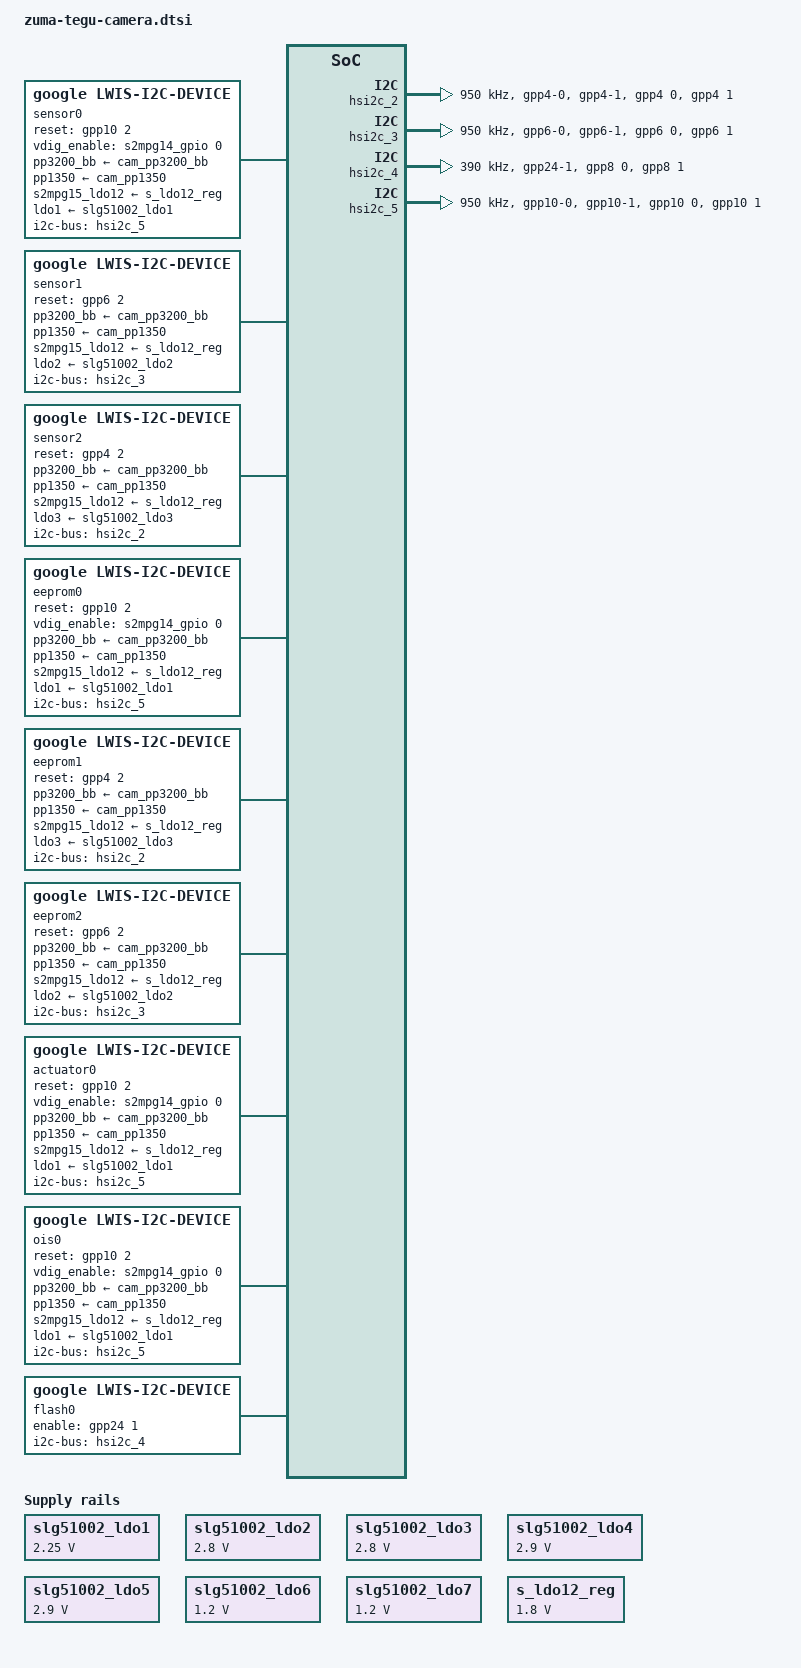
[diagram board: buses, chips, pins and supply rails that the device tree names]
// SPDX-License-Identifier: GPL-2.0-only
/*
 * zuma camera lwis device tree for tegu
 *
 * Copyright 2023 Google LLC.
 *
 */

#include <dt-bindings/clock/zuma.h>
#include <dt-bindings/gpio/gpio.h>
#include <arm64/exynos/exynos-pinctrl.h>

&slg51002_ldo1 {
	regulator-min-microvolt = <2250000>;
	regulator-max-microvolt = <2250000>;
};

/* As defined on OTP */
&slg51002_ldo2 {
	regulator-min-microvolt = <2800000>;
	regulator-max-microvolt = <2800000>;
};

&slg51002_ldo3 {
	regulator-min-microvolt = <2800000>;
	regulator-max-microvolt = <2800000>;
};

&slg51002_ldo4 {
	regulator-min-microvolt = <2900000>;
	regulator-max-microvolt = <2900000>;
};

&slg51002_ldo5 {
	regulator-min-microvolt = <2900000>;
	regulator-max-microvolt = <2900000>;
};

/* As defined on OTP */
&slg51002_ldo6 {
	regulator-min-microvolt = <1200000>;
	regulator-max-microvolt = <1200000>;
};

&slg51002_ldo7 {
	regulator-min-microvolt = <1200000>;
	regulator-max-microvolt = <1200000>;
};

/* slg51002_ldo8 is not used */

&s_ldo12_reg {
	regulator-min-microvolt = <1800000>;
	regulator-max-microvolt = <1800000>;
};


&pinctrl_11 {
	hsi2c2_bus: hsi2c2-bus {
		samsung,pin-pud = <EXYNOS_PIN_PULL_UP>;
	};

	hsi2c2_bus_in: hsi2c2-bus-in {
		samsung,pins = "gpp4-0", "gpp4-1";
		samsung,pin-function = <EXYNOS_PIN_FUNC_INPUT>;
		samsung,pin-pud = <EXYNOS_PIN_PULL_NONE>;
		samsung,pin-drv = <ZUMA_PIN_DRV_X1>;
	};

	hsi2c3_bus: hsi2c3-bus {
		samsung,pin-pud = <EXYNOS_PIN_PULL_UP>;
	};

	hsi2c3_bus_in: hsi2c3-bus-in {
		samsung,pins = "gpp6-0", "gpp6-1";
		samsung,pin-function = <EXYNOS_PIN_FUNC_INPUT>;
		samsung,pin-pud = <EXYNOS_PIN_PULL_NONE>;
		samsung,pin-drv = <ZUMA_PIN_DRV_X1>;
	};

	hsi2c5_bus: hsi2c5-bus {
		samsung,pin-pud = <EXYNOS_PIN_PULL_UP>;
	};

	hsi2c5_bus_in: hsi2c5-bus-in {
		samsung,pins = "gpp10-0", "gpp10-1";
		samsung,pin-function = <EXYNOS_PIN_FUNC_INPUT>;
		samsung,pin-pud = <EXYNOS_PIN_PULL_NONE>;
		samsung,pin-drv = <ZUMA_PIN_DRV_X1>;
	};

	sensor_mclk1_out: sensor-mclk1-out {
		samsung,pin-drv = <ZUMA_PIN_DRV_X3>;
	};
	sensor_mclk1_fn: sensor-mclk1-fn {
		samsung,pin-drv = <ZUMA_PIN_DRV_X3>;
	};
	sensor_mclk2_out: sensor-mclk2-out {
		samsung,pin-drv = <ZUMA_PIN_DRV_X3>;
	};
	sensor_mclk2_fn: sensor-mclk2-fn {
		samsung,pin-drv = <ZUMA_PIN_DRV_X3>;
	};
	sensor_mclk4_out: sensor-mclk4-out {
		samsung,pin-drv = <ZUMA_PIN_DRV_X3>;
	};
	sensor_mclk4_fn: sensor-mclk4-fn {
		samsung,pin-drv = <ZUMA_PIN_DRV_X3>;
	};
};

&pinctrl_12 {
	/* GPP24[1] Flashlight Enable */
	flash_en: flash-en {
		samsung,pins = "gpp24-1";
		samsung,pin-function = <EXYNOS_PIN_FUNC_INPUT>;
		samsung,pin-pud = <EXYNOS_PIN_PULL_NONE>;
		samsung,pin-con-pdn = <EXYNOS_PIN_PDN_PREV>;
		samsung,pin-pud-pdn = <EXYNOS_PIN_PULL_NONE>;
	};
};

&hsi2c_2 {
	#address-cells = <1>;
	#size-cells = <0>;
	gpios = <&gpp4 0 GPIO_ACTIVE_HIGH &gpp4 1 GPIO_ACTIVE_HIGH>;
	status = "okay";
	clock-frequency = <950000>;
	samsung,no_lose_arbitration;
	samsung,reset-before-trans;

	pinctrl-names = "default","on_i2c","off_i2c";
	pinctrl-0 = <&hsi2c2_bus_in>;
	pinctrl-1 = <&hsi2c2_bus>;
	pinctrl-2 = <&hsi2c2_bus_in>;
};

&hsi2c_3 {
	#address-cells = <1>;
	#size-cells = <0>;
	gpios = <&gpp6 0 GPIO_ACTIVE_HIGH &gpp6 1 GPIO_ACTIVE_HIGH>;
	status = "okay";
	clock-frequency = <950000>;
	samsung,no_lose_arbitration;
	samsung,reset-before-trans;

	pinctrl-names = "default","on_i2c","off_i2c";
	pinctrl-0 = <&hsi2c3_bus_in>;
	pinctrl-1 = <&hsi2c3_bus>;
	pinctrl-2 = <&hsi2c3_bus_in>;
};

&hsi2c_4 {
	#address-cells = <1>;
	#size-cells = <0>;
	gpios = <&gpp8 0 GPIO_ACTIVE_HIGH &gpp8 1 GPIO_ACTIVE_HIGH>;
	status = "okay";
	/* Limit to 390KHz due to bottleneck in flash LED driver. */
	clock-frequency = <390000>;
	samsung,no_lose_arbitration;

	pinctrl-names = "default","on_i2c","off_i2c";
	pinctrl-0 = <&hsi2c4_bus &flash_en>;
	pinctrl-1 = <&hsi2c4_bus>;
	pinctrl-2 = <&hsi2c4_bus>;
};

&hsi2c_5 {
	#address-cells = <1>;
	#size-cells = <0>;
	gpios = <&gpp10 0 GPIO_ACTIVE_HIGH &gpp10 1 GPIO_ACTIVE_HIGH>;
	status = "okay";
	clock-frequency = <950000>;
	samsung,no_lose_arbitration;
	samsung,reset-before-trans;
	samsung,hybrid-polling-mode;
	samsung,trailing-count = <0x20000>;

	pinctrl-names = "default","on_i2c","off_i2c";
	pinctrl-0 = <&hsi2c5_bus_in>;
	pinctrl-1 = <&hsi2c5_bus>;
	pinctrl-2 = <&hsi2c5_bus_in>;
};


/ {
	fragment@lwiscamera {
		target-path = "/";
		__overlay__ {
			/* Power sequence for FRONT CAMERA combo */
			front_camera_power_seq: module_power_seq@0 {
				/* Power supplies will be defined on each module. */
				/* Common supplies */
				/* PP3200_BB_CAM pp3200_bb */
				/* PP1350_CAM    pp1350 */
				/* Sensor */
				/* VDDIO         s5mpg15_ldo12 */
				/* VDDA          ldo2          */
				/* VDIG          ldo7          */
				/* RESET         reset         */
				/* MCLK_ON       mclk_on       */
				power-up-seqs =
					"pp3200_bb",
					"pp1350",
					"s2mpg15_ldo12",
					"ldo2",
					"ldo7",
					"reset",
					"mclk_on";
				power-up-seq-types =
					"regulator",
					"regulator",
					"regulator",
					"regulator",
					"regulator",
					"gpio",
					"pinctrl";
				power-up-seq-delays-us =
					<1000
					 1000
					 1000
					 1000
					 1000
					 1000
					 1000>;

				power-down-seqs =
					"mclk_off",
					"reset",
					"ldo7",
					"ldo2",
					"s2mpg15_ldo12",
					"pp1350",
					"pp3200_bb";
				power-down-seq-types =
					"pinctrl",
					"gpio",
					"regulator",
					"regulator",
					"regulator",
					"regulator",
					"regulator";
				power-down-seq-delays-us =
					<1000
					 1000
					 1000
					 1000
					 1000
					 1000
					 1000>;
			};

			/* Power sequence for REAR MAIN CAMERA combo */
			rear_main_camera_power_seq: module_power_seq@1 {
				/* Power supplies will be defined on each module. */
				/* Common supplies */
				/* PP3200_BB_CAM pp3200_bb */
				/* PP1350_CAM    pp1350 */
				/* VDDIO         s2mpg15_ldo12 */
				/* Actuator , OIS */
				/* AVDD          ldo5 */
				/* AF_VM         ldo4 */
				/* Sensor */
				/* VDDA          ldo1 */
				/* VDIG          vdig_enable */
				/* RESET         reset */
				/* MCLK_ON       mclk_on */
				power-up-seqs =
					"pp3200_bb",
					"pp1350",
					"s2mpg15_ldo12",
					"ldo5",
					"ldo4",
					"ldo1",
					"vdig_enable",
					"reset",
					"mclk_on";
				power-up-seq-types =
					"regulator",
					"regulator",
					"regulator",
					"regulator",
					"regulator",
					"regulator",
					"gpio",
					"gpio",
					"pinctrl";
				power-up-seq-delays-us =
					<1000
					 1000
					 1000
					 1000
					 1000
					 1000
					 1000
					 1000
					 10000>;

				power-down-seqs =
					"mclk_off",
					"reset",
					"vdig_enable",
					"ldo1",
					"ldo4",
					"ldo5",
					"s2mpg15_ldo12",
					"pp1350",
					"pp3200_bb";
				power-down-seq-types =
					"pinctrl",
					"gpio",
					"gpio",
					"regulator",
					"regulator",
					"regulator",
					"regulator",
					"regulator",
					"regulator";
				power-down-seq-delays-us =
					<1000
					 1000
					 1000
					 1000
					 1000
					 1000
					 1000
					 1000
					 1000>;
			};

			/* Power sequence for REAR ULTRA WIDE combo */
			rear_uw_camera_power_seq: module_power_seq@2 {
				/* Power supplies will be defined on each module. */
				/* Common supplies */
				/* PP3200_BB_CAM pp3200_bb */
				/* PP1350_CAM    pp1350 */
				/* Sensor */
				/* VIO           s2mpg15_ldo12 */
				/* VANA          ldo3 */
				/* VDIG          ldo6 */
				/* RESET         reset */
				/* MCLK_ON       mclk_on */
				power-up-seqs =
					"pp3200_bb",
					"pp1350",
					"s2mpg15_ldo12",
					"ldo3",
					"ldo6",
					"reset",
					"mclk_on";
				power-up-seq-types =
					"regulator",
					"regulator",
					"regulator",
					"regulator",
					"regulator",
					"gpio",
					"pinctrl";
				power-up-seq-delays-us =
					<1000
					 1000
					 1000
					 1000
					 1000
					 1000
					 1000>;

				power-down-seqs =
					"mclk_off",
					"reset",
					"ldo6",
					"ldo3",
					"s2mpg15_ldo12",
					"pp1350",
					"pp3200_bb";
				power-down-seq-types =
					"pinctrl",
					"gpio",
					"regulator",
					"regulator",
					"regulator",
					"regulator",
					"regulator";
				power-down-seq-delays-us =
					<1000
					 1000
					 1000
					 1000
					 1000
					 1000
					 1000>;
			};

			/* REAR CAMERA */
			sensor0: sensor@0 {
				compatible = "google,lwis-i2c-device";

				/* Device node name */
				node-name = "sensor-barghest";

				/* I2C */
				i2c-bus = <&hsi2c_5>;
				i2c-addr = <0x56>;

				/* Registers */
				reg-addr-bitwidth = <16>;
				reg-value-bitwidth = <16>;

				/* GPIOs */
				/* RCAM_RST_L GPP10[2] */
				reset-gpios = <&gpp10 2 GPIO_ACTIVE_HIGH>;
				/* CAM_LVBUCK_EN */
				vdig_enable-gpios = <&s2mpg14_gpio 0 GPIO_ACTIVE_HIGH>; /* VDIG */

				/* Power supplies */
				pp3200_bb-supply = <&cam_pp3200_bb>;
				pp1350-supply = <&cam_pp1350>;
				s2mpg15_ldo12-supply = <&s_ldo12_reg>;
				ldo1-supply = <&slg51002_ldo1>; /* VANA */
				ldo4-supply = <&slg51002_ldo4>; /* AF Driver IC VM */
				ldo5-supply = <&slg51002_ldo5>; /* VCM_DRV_ANA (VDDA) */

				clocks =
					<&clock CIS_CLK3>,
					<&clock GATE_DFTMUX_CMU_CIS_CLK3>;
				clock-names =
					"CIS_CLK3",
					"GATE_DFTMUX_CMU_CIS_CLK3";
				clock-rates =
					<26000000>,
					<0>;

				/* MCLK Control */
				pinctrl-names = "mclk_on", "mclk_off";
				pinctrl-0 = <&sensor_mclk4_fn>;
				pinctrl-1 = <&sensor_mclk4_out>;

				/* Power sequence */
				power-seq = <&rear_main_camera_power_seq>;

				/* Thread priority */
				transaction-thread-priority = <99>;

				i2c-lock-group-id = <0>;
			};

			/* FRONT CAMERA LESHEN */
			sensor1: sensor@1 {
				compatible = "google,lwis-i2c-device";

				/* Device node name */
				node-name = "sensor-leshen";

				/* I2C */
				i2c-bus = <&hsi2c_3>;
				i2c-addr = <0x1A>;

				/* Registers */
				reg-addr-bitwidth = <16>;
				reg-value-bitwidth = <8>;

				/* GPIOs */
				/* FCAM_RST_L GPP6[2] */
				reset-gpios = <&gpp6 2 GPIO_ACTIVE_HIGH>;

				/* Power supplies */
				pp3200_bb-supply = <&cam_pp3200_bb>;
				pp1350-supply = <&cam_pp1350>;
				s2mpg15_ldo12-supply = <&s_ldo12_reg>;
				ldo2-supply = <&slg51002_ldo2>;
				ldo7-supply = <&slg51002_ldo7>;

				clocks =
					<&clock CIS_CLK1>,
					<&clock GATE_DFTMUX_CMU_CIS_CLK1>;
				clock-names =
					"CIS_CLK1",
					"GATE_DFTMUX_CMU_CIS_CLK1";
				clock-rates =
					<24000000>,
					<0>;

				/* MCLK Control */
				pinctrl-names = "mclk_on", "mclk_off";
				pinctrl-0 = <&sensor_mclk2_fn>;
				pinctrl-1 = <&sensor_mclk2_out>;

				/* Power sequence */
				power-seq = <&front_camera_power_seq>;

				/* Thread priority */
				transaction-thread-priority = <99>;

				i2c-lock-group-id = <3>;
			};

			/* REAR ULTRA WIDE CAMERA LESHEN */
			sensor2: sensor@2 {
				compatible = "google,lwis-i2c-device";

				/* Device node name */
				node-name = "sensor-leshen-uw";

				/* I2C */
				i2c-bus = <&hsi2c_2>;
				i2c-addr = <0x1A>;
				/* Registers */
				reg-addr-bitwidth = <16>;
				reg-value-bitwidth = <8>;

				/* GPIOs */
				/* RUWCAM_RST_L GPP4[2] */
				reset-gpios = <&gpp4 2 GPIO_ACTIVE_HIGH>;

				/* Power supplies */
				pp3200_bb-supply = <&cam_pp3200_bb>;
				pp1350-supply = <&cam_pp1350>;
				s2mpg15_ldo12-supply = <&s_ldo12_reg>;
				ldo3-supply = <&slg51002_ldo3>;
				ldo6-supply = <&slg51002_ldo6>;

				clocks =
					<&clock CIS_CLK0>,
					<&clock GATE_DFTMUX_CMU_CIS_CLK0>;
				clock-names =
					"CIS_CLK0",
					"GATE_DFTMUX_CMU_CIS_CLK0";
				clock-rates =
					<24000000>,
					<0>;

				/* MCLK Control */
				pinctrl-names = "mclk_on", "mclk_off";
				pinctrl-0 = <&sensor_mclk1_fn>;
				pinctrl-1 = <&sensor_mclk1_out>;

				/* Power sequence */
				power-seq = <&rear_uw_camera_power_seq>;

				/* Thread priority */
				transaction-thread-priority = <99>;

				i2c-lock-group-id = <2>;
			};

			/* EEPROM for REAR CAMERA */
			eeprom0: eeprom@0 {
				compatible = "google,lwis-i2c-device";
				/* Device node name */
				node-name = "eeprom-nessie";
				/* I2C */
				i2c-bus = <&hsi2c_5>;
				i2c-addr = <0x24>;
				/* Registers */
				reg-addr-bitwidth = <16>;
				reg-value-bitwidth = <32>;

				/* GPIOs */
				/* RCAM_RST_L GPP10[2] */
				reset-gpios = <&gpp10 2 GPIO_ACTIVE_HIGH>;
				/* CAM_LVBUCK_EN */
				vdig_enable-gpios = <&s2mpg14_gpio 0 GPIO_ACTIVE_HIGH>; /* VDIG */

				/* Power supplies */
				pp3200_bb-supply = <&cam_pp3200_bb>;
				pp1350-supply = <&cam_pp1350>;
				s2mpg15_ldo12-supply = <&s_ldo12_reg>;
				ldo1-supply = <&slg51002_ldo1>; /* VANA */
				ldo4-supply = <&slg51002_ldo4>; /* AF Driver IC VM */
				ldo5-supply = <&slg51002_ldo5>; /* VCM_DRV_ANA (VDDA) */

				/* MCLK Control */
				pinctrl-names = "mclk_on", "mclk_off";
				pinctrl-0 = <&sensor_mclk4_fn>;
				pinctrl-1 = <&sensor_mclk4_out>;

				/* Power sequence */
				power-seq = <&rear_main_camera_power_seq>;

				i2c-lock-group-id = <0>;
			};

			/* EEPROM for REAR ULTRAWIDE CAMERA */
			eeprom1: eeprom@1 {
				compatible = "google,lwis-i2c-device";

				/* Device node name */
				node-name = "eeprom-smaug-leshen-uw";

				/* I2C */
				i2c-bus = <&hsi2c_2>;
				i2c-addr = <0x50>;

				/* Registers */
				reg-addr-bitwidth = <16>;
				reg-value-bitwidth = <8>;

				/* GPIOs */
				/* RUWCAM_RST_L GPP4[2] */
				reset-gpios = <&gpp4 2 GPIO_ACTIVE_HIGH>;

				/* Power supplies */
				pp3200_bb-supply = <&cam_pp3200_bb>;
				pp1350-supply = <&cam_pp1350>;
				s2mpg15_ldo12-supply = <&s_ldo12_reg>;
				ldo3-supply = <&slg51002_ldo3>;
				ldo6-supply = <&slg51002_ldo6>;

				/* MCLK Control */
				pinctrl-names = "mclk_on", "mclk_off";
				pinctrl-0 = <&sensor_mclk1_fn>;
				pinctrl-1 = <&sensor_mclk1_out>;

				/* Power sequence */
				power-seq = <&rear_uw_camera_power_seq>;

				i2c-lock-group-id = <2>;
			};

			/* EEPROM for FRONT CAMERA LESHEN-UW*/
			eeprom2: eeprom@2 {
				compatible = "google,lwis-i2c-device";

				/* Device node name */
				node-name = "eeprom-smaug-leshen";

				/* I2C */
				i2c-bus = <&hsi2c_3>;
				i2c-addr = <0x50>;

				/* Registers */
				reg-addr-bitwidth = <16>;
				reg-value-bitwidth = <8>;

				/* GPIOs */
				/* FCAM_RST_L GPP6[2] */
				reset-gpios = <&gpp6 2 GPIO_ACTIVE_HIGH>;

				/* Power supplies */
				pp3200_bb-supply = <&cam_pp3200_bb>;
				pp1350-supply = <&cam_pp1350>;
				s2mpg15_ldo12-supply = <&s_ldo12_reg>;
				ldo2-supply = <&slg51002_ldo2>;
				ldo7-supply = <&slg51002_ldo7>;

				/* MCLK Control */
				pinctrl-names = "mclk_on", "mclk_off";
				pinctrl-0 = <&sensor_mclk2_fn>;
				pinctrl-1 = <&sensor_mclk2_out>;

				/* Power sequence */
				power-seq = <&front_camera_power_seq>;
			};

			/* Actuator for REAR CAMERA */
			actuator0: actuator@0 {
				compatible = "google,lwis-i2c-device";

				/* Device node name */
				node-name = "act-nessie";

				/* I2C */
				i2c-bus = <&hsi2c_5>;
				i2c-addr = <0x24>;

				/* Registers */
				reg-addr-bitwidth = <16>;
				reg-value-bitwidth = <32>;

				/* GPIOs */
				/* RCAM_RST_L GPP10[2] */
				reset-gpios = <&gpp10 2 GPIO_ACTIVE_HIGH>;
				/* CAM_LVBUCK_EN */
				vdig_enable-gpios = <&s2mpg14_gpio 0 GPIO_ACTIVE_HIGH>; /* VDIG */

				/* Power supplies */
				pp3200_bb-supply = <&cam_pp3200_bb>;
				pp1350-supply = <&cam_pp1350>;
				s2mpg15_ldo12-supply = <&s_ldo12_reg>;
				ldo1-supply = <&slg51002_ldo1>; /* VANA */
				ldo4-supply = <&slg51002_ldo4>; /* AF Driver IC VM */
				ldo5-supply = <&slg51002_ldo5>; /* VCM_DRV_ANA (VDDA) */

				/* MCLK Control */
				pinctrl-names = "mclk_on", "mclk_off";
				pinctrl-0 = <&sensor_mclk4_fn>;
				pinctrl-1 = <&sensor_mclk4_out>;

				/* Power sequence */
				power-seq = <&rear_main_camera_power_seq>;

				/* Thread priority */
				transaction-thread-priority = <99>;

				i2c-lock-group-id = <0>;
			};

			/* OIS for REAR CAMERA */
			ois0: ois@0 {
				compatible = "google,lwis-i2c-device";

				/* Device node name */
				node-name = "ois-nessie";

				/* I2C */
				i2c-bus = <&hsi2c_5>;
				i2c-addr = <0x24>;

				/* Registers */
				reg-addr-bitwidth = <16>;
				reg-value-bitwidth = <32>;

				/* GPIOs */
				/* RCAM_RST_L GPP10[2] */
				reset-gpios = <&gpp10 2 GPIO_ACTIVE_HIGH>;
				/* CAM_LVBUCK_EN */
				vdig_enable-gpios = <&s2mpg14_gpio 0 GPIO_ACTIVE_HIGH>; /* VDIG */


				/* Power supplies */
				pp3200_bb-supply = <&cam_pp3200_bb>;
				pp1350-supply = <&cam_pp1350>;
				s2mpg15_ldo12-supply = <&s_ldo12_reg>;
				ldo1-supply = <&slg51002_ldo1>; /* VANA */
				ldo4-supply = <&slg51002_ldo4>; /* AF Driver IC VM */
				ldo5-supply = <&slg51002_ldo5>; /* VCM_DRV_ANA (VDDA) */

				/* MCLK Control */
				pinctrl-names = "mclk_on", "mclk_off";
				pinctrl-0 = <&sensor_mclk4_fn>;
				pinctrl-1 = <&sensor_mclk4_out>;

				/* Power sequence */
				power-seq = <&rear_main_camera_power_seq>;

				/* Thread priority */
				transaction-thread-priority = <99>;

				i2c-lock-group-id = <0>;
			};

			flash0: flash@0 {
				compatible = "google,lwis-i2c-device";

				/* Device node name */
				node-name = "flash-lm3644";

				/* I2C */
				i2c-bus = <&hsi2c_4>;
				i2c-addr = <0x63>;

				/* Registers */
				reg-addr-bitwidth = <8>;
				reg-value-bitwidth = <8>;

				/* GPIOs */
				/* FLASH_EN GPP24[1] */
				enable-gpios =
					<&gpp24 1 GPIO_ACTIVE_HIGH>;

				power-up-seqs = "enable";
				power-up-seq-types = "gpio";
				power-up-seq-delays-us = <0>;

				power-down-seqs = "enable";
				power-down-seq-types = "gpio";
				power-down-seq-delays-us = <0>;
			};
		};
	};
};
